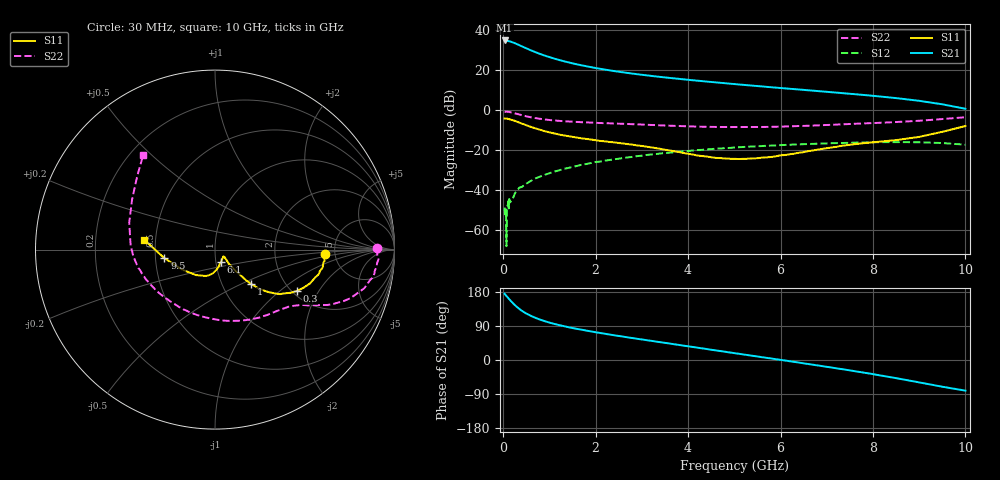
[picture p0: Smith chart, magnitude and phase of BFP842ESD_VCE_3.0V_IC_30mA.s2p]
! Infineon Technologies  Discrete & RF Semiconductors
! BFP842ESD
! VCE =  3.0 V,  IC =  30 mA
! Common Emitter S-Parameters:  May 2012
# GHz  S  MA  R  50
!  f  S11  S21  S12  S22
! GHz  MAG  ANG  MAG  ANG  MAG  ANG  MAG  ANG
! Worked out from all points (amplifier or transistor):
!   99 points, 30 MHz to 10 GHz, reference 50 ohm
!   highest |S21| = 34.7 dB at 30 MHz (marker M1)
!   |S21| within 3 dB of that: start of sweep to 409.5 MHz
!   unconditionally stable (mu >= 1): 38.49 MHz to 41.35 MHz; 66.54 MHz to 74.38 MHz; 1.779 GHz to end of sweep
!   at 350 MHz: K = 0.68, MSG = 35.5 dB, |S12| = -38.7 dB
!   at 3.5 GHz: K = 1.06, MAG = 17.4 dB, |S12| = -21.5 dB
!   at 10 GHz: K = 1.70, MAG = 4.1 dB, |S12| = -17.3 dB
!   S11 on the Smith chart (normalised r, x): 30 MHz: 4.18, -0.35; 300 MHz: 2.11, -1.32; 1 GHz: 1.37, -0.57; 6.1 GHz: 1.06, -0.14; 9.5 GHz: 0.56, -0.06; 10 GHz: 0.43, +0.06
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0.03  0.6158 -2.4  54.49 174.9  0.0037 51.0  0.9014 0.4
0.05  0.6118 -4.6  53.69 171.6  0.0028 78.6  0.9054 -2.0
0.06  0.6134 -6.1  54.37 170.2  0.0033 69.7  0.914 -3.0
0.07  0.609 -6.5  53.63 169.0  0.0004 55.6  0.9118 -3.5
0.08  0.6074 -8.2  53.56 167.3  0.0034 52.1  0.9062 -4.8
0.15  0.5809 -15.3  51.32 157.6  0.005 46.0  0.8815 -11.0
0.25  0.5363 -23.4  46.73 145.1  0.0082 64.3  0.8268 -17.3
0.3  0.5102 -26.9  43.95 139.6  0.0099 67.0  0.8011 -19.8
0.45  0.44 -34.3  36.74 126.2  0.0131 68.8  0.7208 -25.0
0.6  0.3787 -38.6  30.84 116.4  0.0171 67.9  0.6583 -28.0
0.8  0.3207 -41.9  25.02 106.4  0.0219 67.1  0.6031 -31.0
1  0.2776 -43.7  20.93 98.7  0.0265 65.7  0.564 -33.2
1.3  0.2334 -44.7  16.64 89.7  0.0337 63.3  0.5269 -36.9
1.7  0.1961 -45.0  13.02 79.8  0.0432 59.3  0.4965 -42.0
2.4  0.1559 -45.8  9.384 65.3  0.059 52.6  0.4607 -53.1
3.4  0.1073 -45.2  6.703 47.0  0.0823 40.7  0.4147 -73.0
5.1  0.0598 -40.3  4.342 16.4  0.1178 17.2  0.3751 -115.3
6.1  0.0754 -62.5  3.467 -1.4  0.1345 2.9  0.3882 -138.0
6.7  0.0978 -78.5  3.043 -12.4  0.143 -6.4  0.4098 -152.3
8.5  0.1775 -126.9  1.986 -47.9  0.1582 -38.4  0.5013 162.4
9.5  0.2856 -170.3  1.39 -70.5  0.1499 -60.4  0.595 136.8
10  0.3985 172.1  1.075 -80.8  0.1362 -71.5  0.6612 127.3
